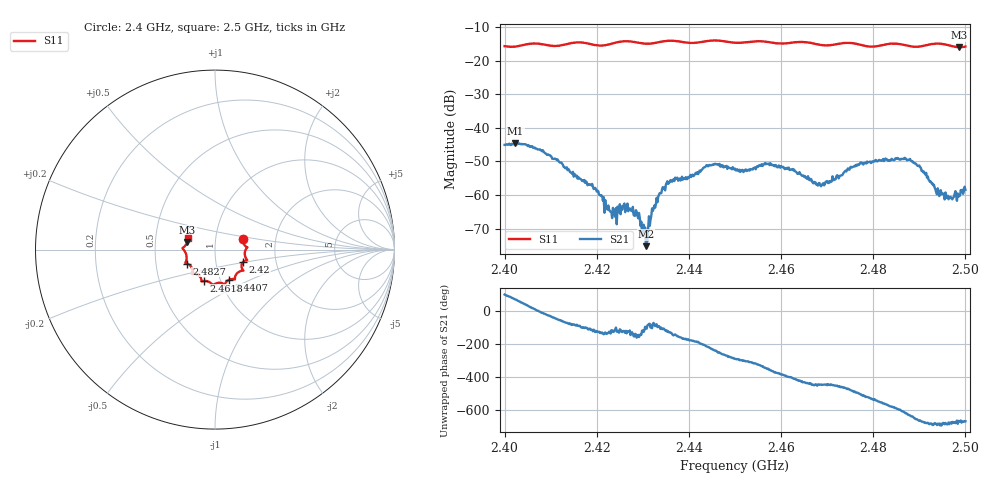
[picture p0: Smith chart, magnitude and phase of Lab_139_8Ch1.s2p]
# Hz S RI R 50
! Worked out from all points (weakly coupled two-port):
!   601 points, 2.4 GHz to 2.5 GHz, reference 50 ohm
!   highest |S21| = -44.50 dB at 2.4023 GHz (marker M1); lowest = -75.3 dB at 2.4307 GHz (marker M2)
!   lowest |S11| = -15.9 dB at 2.4987 GHz (marker M3), VSWR 1.38, Z = 36.5 + j3.24 ohm
!   |S11| at or under -10 dB: start of sweep to end of sweep
!   S12 and S22 are empty: the file has one direction only
!   S11 on the Smith chart (normalised r, x): 2.4 GHz: 1.35, +0.17; 2.42 GHz: 1.35, -0.19; 2.4407 GHz: 1.10, -0.38; 2.4618 GHz: 0.83, -0.30; 2.4827 GHz: 0.72, -0.12; 2.5 GHz: 0.73, +0.10
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2.4e9  0.1542 0.0616  -0.000689 0.00555  0 0  0 0
2.402333e9  0.1605 0.0317  0.00226 0.00551  0 0  0 0
2.408e9  0.178 0.00936  0.00454 -0.00106  0 0  0 0
2.416667e9  0.1789 -0.0588  -0.00038 -0.00164  0 0  0 0
2.42e9  0.1563 -0.069  -0.000618 -0.000939  0 0  0 0
2.423833e9  0.1515 -0.1071  -0.000251 -0.000449  0 0  0 0
2.426167e9  0.1582 -0.1169  -0.000391 -0.000394  0 0  0 0
2.428833e9  0.1457 -0.1185  -0.000443 -0.000204  0 0  0 0
2.430667e9  0.1273 -0.128  -4.93e-05 -0.000165  0 0  0 0
2.433333e9  0.1116 -0.1528  -0.000152 -0.000924  0 0  0 0
2.435667e9  0.1116 -0.1657  -0.000997 -0.00113  0 0  0 0
2.440667e9  0.0792 -0.1675  -0.00199 4.14e-05  0 0  0 0
2.4455e9  0.0531 -0.1947  -0.00141 0.00248  0 0  0 0
2.45e9  0.027 -0.1848  0.000914 0.0023  0 0  0 0
2.461833e9  -0.0618 -0.1749  0.00176 -0.00157  0 0  0 0
2.466667e9  -0.0758 -0.1681  1.69e-05 -0.00164  0 0  0 0
2.482667e9  -0.1582 -0.0779  -0.00314 0.00156  0 0  0 0
2.483333e9  -0.1622 -0.0769  -0.00267 0.00182  0 0  0 0
2.488e9  -0.1582 -0.0489  0.000225 0.00344  0 0  0 0
2.493833e9  -0.1814 0.00689  0.000904 0.000478  0 0  0 0
2.498667e9  -0.1541 0.0432  0.000634 0.000739  0 0  0 0
2.5e9  -0.1508 0.0633  0.000752 0.000929  0 0  0 0
